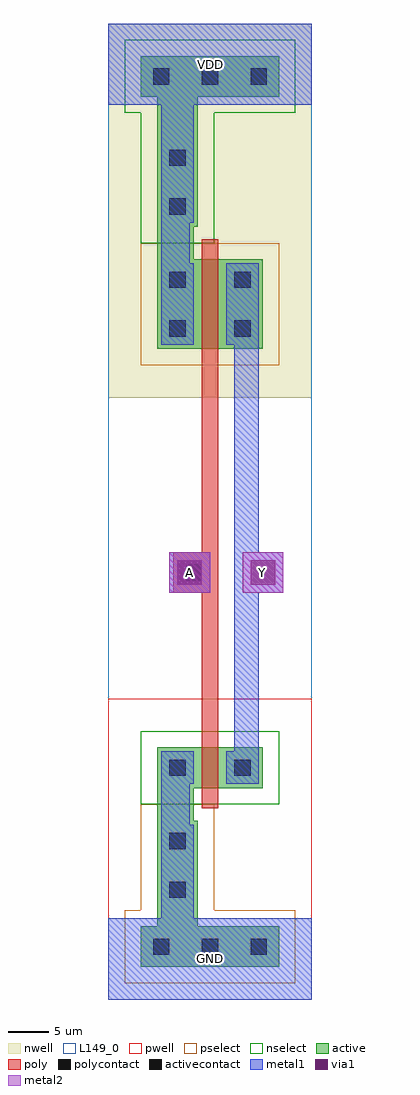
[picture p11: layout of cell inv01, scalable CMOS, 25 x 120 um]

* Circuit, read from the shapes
.subckt inv01 A GND VDD Y
M1 Y A GND GND nfet w=5u l=2u
M2 Y A VDD VDD pfet w=11u l=2u
.ends

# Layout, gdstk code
import gdstk
lib = gdstk.Library(unit=1e-6, precision=1e-09)
def R(c, l, rs):  # rectangles x0, y0, x1, y1
    for r in rs: c.add(gdstk.rectangle(r[:2], r[2:], *l))
def A(c, l, x, y, w, h, nx, ny, dx, dy):  # array of equal rectangles
    R(c, l, [(x+i*dx, y+j*dy, x+i*dx+w, y+j*dy+h) for i in range(nx) for j in range(ny)])
pwell = (41, 0)
nwell = (42, 0)
active = (43, 0)
pselect = (44, 0)
nselect = (45, 0)
poly = (46, 0)
polycontact = (47, 0)
activecontact = (48, 0)
metal1 = (49, 0)
via1 = (50, 0)
metal2 = (51, 0)
L149_0 = (149, 0)

via = lib.new_cell('via')
R(via, metal1, [(-2.5,-2.5,2.5,2.5)])
R(via, via1, [(-1.5,-1.5,1.5,1.5)])
R(via, metal2, [(-2.5,-2.5,2.5,2.5)])

inv01 = lib.new_cell('inv01')
R(inv01, pwell, [(0,0,25,37), (0,20,25,37)])
R(inv01, nwell, [(0,74,25,97), (0,74,25,120)])
R(inv01, active, [(4,4,21,9), (6,9,11,22), (6,22,10.5,26), (6,26,11.5,31), (6,26,19,31), (13.5,26,19,31), (6,80,11.5,91), (6,80,19,91), (13.5,80,19,91), (6,91,10.5,95), (6,95,11,111), (4,111,21,116)])
R(inv01, pselect, [(2,2,23,11), (4,11,13,24), (4,78,21,93)])
R(inv01, nselect, [(4,24,21,33), (4,93,13,109), (2,109,23,118)])
R(inv01, poly, [(11.5,23.5,13.5,26), (11.5,26,13.5,31), (11.5,31,13.5,33.5), (8,50,13,55), (11.5,77.5,13.5,80), (11.5,80,13.5,91), (11.5,91,13.5,93.5)])
R(inv01, polycontact, [(9.5,51.5,11.5,53.5)])
A(inv01, activecontact, 5.5, 5.5, 2, 2, 3, 2, 6, 107)
R(inv01, activecontact, [(7.5,12.5,9.5,14.5), (7.5,18.5,9.5,20.5), (7.5,27.5,9.5,29.5), (15.5,27.5,17.5,29.5), (7.5,81.5,9.5,83.5), (15.5,81.5,17.5,83.5), (7.5,87.5,9.5,89.5), (15.5,87.5,17.5,89.5), (7.5,96.5,9.5,98.5), (7.5,102.5,9.5,104.5)])
R(inv01, metal1, [(0,0,25,10), (0,0,25,10), (6.5,10,10.5,21.5), (6.5,21.5,10,26.5), (6.5,26.5,10.5,30.5), (14.5,26.5,18.5,30.5), (8.5,50.5,12.5,54.5), (6.5,80.5,10.5,90.5), (14.5,80.5,18.5,90.5), (6.5,90.5,10,95.5), (6.5,95.5,10.5,110), (0,110,25,120), (0,110,25,120)])
R(inv01, metal2, [(7.5,50,12.5,55), (16.5,50,21.5,55)])
R(inv01, L149_0, [(0,0,25,120), (8.5,50.5,12.5,54.5)])
inv01.add(gdstk.FlexPath([(12.5,77.5),(12.5,33.5)], 2, ends="flush", simple_path=True, layer=46, datatype=0))  # poly
inv01.add(gdstk.FlexPath([(17,80.5),(17,30.5)], 3, ends="flush", simple_path=True, layer=49, datatype=0))  # metal1
inv01.add(gdstk.Reference(via, (10,52.5)))
inv01.add(gdstk.Reference(via, (19,52.5)))
inv01.add(gdstk.Label('GND', (12.5,5), layer=2, texttype=0))
inv01.add(gdstk.Label('VDD', (12.5,115), layer=2, texttype=0))
inv01.add(gdstk.Label('Y', (19,52.5), layer=3, texttype=0))
inv01.add(gdstk.Label('A', (10,52.5), layer=3, texttype=0))
inv01.add(gdstk.Label('GND', (12.5,5), layer=2, texttype=0))
inv01.add(gdstk.Label('VDD', (12.5,115), layer=2, texttype=0))
inv01.add(gdstk.Label('Y', (19,52.5), layer=3, texttype=0))
inv01.add(gdstk.Label('A', (10,52.5), layer=3, texttype=0))

lib.write_gds('inv01.gds')
